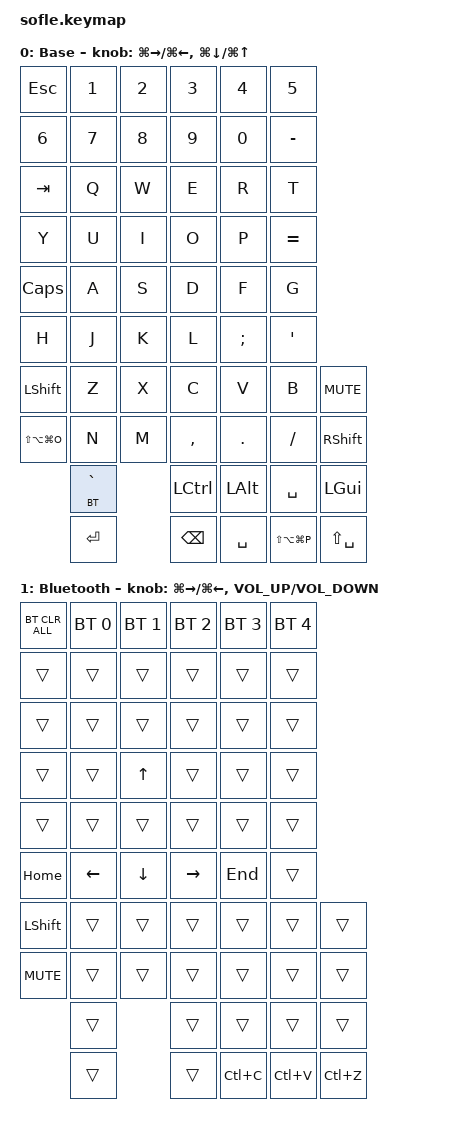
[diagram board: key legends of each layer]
/*
 * Two-layer Sofle keymap for USER
 * Base layer + Bluetooth layer
 * Left encoder: horizontal zoom
 * Right encoder: vertical zoom
 * Left encoder press: mute
 * Right encoder press: Shift+Option+Command+O
 * Hold tilde key for Bluetooth layer access
 */

#include <behaviors.dtsi>
#include <dt-bindings/zmk/keys.h>
#include <dt-bindings/zmk/bt.h>
#include <dt-bindings/zmk/ext_power.h>

#define BASE 0
#define BT   1

/ {
    keymap {
        compatible = "zmk,keymap";

        base_layer {
            display-name = "Base";

            bindings = <
                /***** NUMBER ROW *****/
                &kp ESCAPE   &kp N1      &kp N2      &kp N3      &kp N4      &kp N5
                &kp N6       &kp N7      &kp N8      &kp N9      &kp N0      &kp MINUS

                /***** QWERTY ROW *****/
                &kp TAB      &kp Q       &kp W       &kp E       &kp R       &kp T
                &kp Y        &kp U       &kp I       &kp O       &kp P       &kp EQUAL

                /***** HOME ROW *****/
                &kp CAPSLOCK &kp A       &kp S       &kp D       &kp F       &kp G
                &kp H        &kp J       &kp K       &kp L       &kp SEMI    &kp SQT

                /***** BOTTOM ROW (not including thumbs) *****/
                &kp LSHIFT   &kp Z       &kp X       &kp C       &kp V       &kp B     &kp C_MUTE
                &kp LS(LA(LG(O))) &kp N  &kp M       &kp COMMA   &kp DOT     &kp FSLH  &kp RSHIFT

                /***** THUMB CLUSTERS *****/
                /* Left */     &lt BT GRAVE     &kp LCTRL  &kp LALT   &kp SPACE  &kp LGUI
                /* Right */    &kp ENTER        &kp BSPC   &kp SPACE  &kp LS(LA(LG(P)))  &kp LS(SPACE)
            >;

            sensor-bindings =
                <&inc_dec_kp LG(RIGHT) LG(LEFT)>,
                <&inc_dec_kp LG(DOWN)  LG(UP)>;
        };

        bt_layer {
            display-name = "Bluetooth";

            bindings = <
                /***** NUMBER ROW *****/
                &bt BT_CLR_ALL &bt BT_SEL 0 &bt BT_SEL 1 &bt BT_SEL 2 &bt BT_SEL 3 &bt BT_SEL 4
                &trans         &trans       &trans       &trans       &trans       &trans

                /***** QWERTY ROW *****/
                &trans         &trans       &trans       &trans       &trans       &trans
                &trans         &trans       &kp UP       &trans       &trans       &trans

                /***** HOME ROW *****/
                &trans         &trans       &trans       &trans       &trans       &trans
                &kp HOME       &kp LEFT     &kp DOWN     &kp RIGHT    &kp END      &trans

                /***** BOTTOM ROW (not including thumbs) *****/
                &kp LSHIFT     &trans       &trans       &trans       &trans       &trans &trans
                &kp C_MUTE     &trans       &trans       &trans       &trans       &trans &trans

                /***** THUMB CLUSTERS *****/
                /* Left */     &trans       &trans       &trans       &trans       &trans
                /* Right */    &trans       &trans       &kp LC(C)    &kp LC(V)    &kp LC(Z)
            >;

            sensor-bindings =
                <&inc_dec_kp LG(RIGHT) LG(LEFT)>,
                <&inc_dec_kp C_VOLUME_UP C_VOLUME_DOWN>;
        };
    };
};
